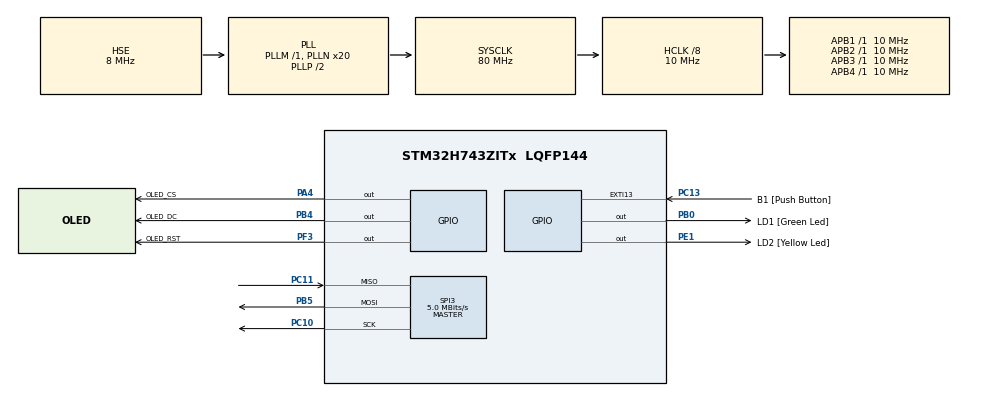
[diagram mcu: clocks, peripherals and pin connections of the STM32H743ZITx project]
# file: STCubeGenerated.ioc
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ADC3.Channel-2\#ChannelRegularConversion=ADC_CHANNEL_TEMPSENSOR
ADC3.NbrOfConversionFlag=1
ADC3.OffsetNumber-2\#ChannelRegularConversion=ADC_OFFSET_NONE
ADC3.OffsetSignedSaturation-2\#ChannelRegularConversion=DISABLE
ADC3.Rank-2\#ChannelRegularConversion=1
ADC3.SamplingTime-2\#ChannelRegularConversion=ADC_SAMPLETIME_1CYCLE_5
Mcu.Family=STM32H7
Mcu.Name=STM32H743ZITx
Mcu.Package=LQFP144
NVIC.EXTI15_10_IRQn=true\:0\:0\:false\:false\:true\:true\:true\:true
NVIC.PriorityGroup=NVIC_PRIORITYGROUP_4
NVIC.TIM7_IRQn=true\:15\:0\:false\:false\:true\:false\:true\:true
NVIC.TimeBase=TIM7_IRQn
NVIC.TimeBaseIP=TIM7
PA1.Signal=ETH_REF_CLK
PA11.Signal=USB_OTG_FS_DM
PA12.Signal=USB_OTG_FS_DP
PA2.Signal=ETH_MDIO
PA4.GPIO_Label=OLED_CS
PA4.GPIO_PuPd=GPIO_PULLUP
PA4.GPIO_Speed=GPIO_SPEED_FREQ_VERY_HIGH
PA4.PinState=GPIO_PIN_RESET
PA4.Signal=GPIO_Output
PA7.Signal=ETH_CRS_DV
PA8.Signal=USB_OTG_FS_SOF
PA9.Signal=USB_OTG_FS_VBUS
PB0.GPIO_Label=LD1 [Green Led]
PB0.GPIO_Speed=GPIO_SPEED_FREQ_VERY_HIGH
PB0.Signal=GPIO_Output
PB13.Signal=ETH_TXD1
PB4\ (NJTRST).GPIO_Label=OLED_DC
PB4\ (NJTRST).GPIO_Speed=GPIO_SPEED_FREQ_VERY_HIGH
PB4\ (NJTRST).Signal=GPIO_Output
PB5.Mode=Full_Duplex_Master
PB5.Signal=SPI3_MOSI
PC1.Signal=ETH_MDC
PC10.GPIO_PuPd=GPIO_PULLUP
PC10.Mode=Full_Duplex_Master
PC10.Signal=SPI3_SCK
PC11.Mode=Full_Duplex_Master
PC11.Signal=SPI3_MISO
PC13.GPIO_Label=B1 [Push Button]
PC13.GPIO_ModeDefaultEXTI=GPIO_MODE_IT_RISING_FALLING
PC13.Signal=GPXTI13
PC14-OSC32_IN\ (OSC32_IN).Signal=RCC_OSC32_IN
PC15-OSC32_OUT\ (OSC32_OUT).Signal=RCC_OSC32_OUT
PC4.Signal=ETH_RXD0
PC5.Signal=ETH_RXD1
PD8.GPIO_Label=STLINK_RX
PD8.Signal=USART3_TX
PD9.GPIO_Label=STLINK_TX
PD9.Signal=USART3_RX
PE1.GPIO_Label=LD2 [Yellow Led]
PE1.GPIO_Speed=GPIO_SPEED_FREQ_VERY_HIGH
PE1.Signal=GPIO_Output
PF3.GPIO_Label=OLED_RST
PF3.GPIO_Speed=GPIO_SPEED_FREQ_VERY_HIGH
PF3.Signal=GPIO_Output
PH0-OSC_IN\ (PH0).Mode=HSE-External-Clock-Source
PH0-OSC_IN\ (PH0).Signal=RCC_OSC_IN
PH1-OSC_OUT\ (PH1).Signal=RCC_OSC_OUT
ProjectManager.HeapSize=0x200
ProjectManager.StackSize=0x400
ProjectManager.TargetToolchain=Makefile
RCC.ADCFreq_Value=37500000
RCC.APB1Freq_Value=10000000
RCC.APB2Freq_Value=10000000
RCC.APB3Freq_Value=10000000
RCC.APB4Freq_Value=10000000
RCC.CortexFreq_Value=10000000
RCC.D1CPRE=RCC_SYSCLK_DIV8
RCC.DIVM1=1
RCC.DIVM2=1
RCC.DIVN1=20
RCC.DIVN2=18
RCC.DIVP2=4
RCC.HCLKFreq_Value=10000000
RCC.HSE_VALUE=8000000
RCC.PLL2FRACN=6144
RCC.PLLFRACN=0
RCC.PLLSourceVirtual=RCC_PLLSOURCE_HSE
RCC.SYSCLKFreq_VALUE=80000000
RCC.SYSCLKSource=RCC_SYSCLKSOURCE_PLLCLK
RCC.USBFreq_Value=80000000
SPI3.BaudRatePrescaler=SPI_BAUDRATEPRESCALER_16
SPI3.CLKPhase=SPI_PHASE_2EDGE
SPI3.CLKPolarity=SPI_POLARITY_HIGH
SPI3.CalculateBaudRate=5.0 MBits/s
SPI3.DataSize=SPI_DATASIZE_8BIT
SPI3.Direction=SPI_DIRECTION_2LINES
SPI3.Mode=SPI_MODE_MASTER
SPI3.VirtualType=VM_MASTER
VP_ADC3_TempSens_Input.Mode=IN-TempSens
VP_SYS_VS_tim7.Mode=TIM7
board=NUCLEO-H743ZI2

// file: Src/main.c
/* USER CODE BEGIN Header */
/* USER CODE END Header */
#include "main.h"

/* USER CODE BEGIN Includes */
#include <stdio.h>
#include <arm_math.h>

#define RTOS 2 				// 1-FreeRTOS, 2-Keil RTX 5
#define TEST_SELECTION 1	// 0-BOOT_TEST, 1-INTERRUPT_NO_LOAD, 2-INTERRUPT_LOAD, 3-START_TASK_FROM_ISR_NO_LOAD, 4-START_TASK_FROM_ISR_LOAD, 5-TASK_SWITCH_TIME
#define DISPLAY_TYPE 2 		// 0-off, 1-display 0_95in, 2-display 0_96in

#if (TEST_SELECTION == 0)	//BOOT_TEST
	#define BOOT_TEST 1
	#define BLINK_LD2 0
	#define TEMP 0
	#define FFT 0
	#define DISPLAY 0
	#define QUEUES 0
	#define TASK_SWITCH_TIME 0
#elif (TEST_SELECTION == 1)	//INTERRUPT_NO_LOAD
	#define BLINK_LD2 1
	#define TEMP 0
	#define FFT 0
	#define DISPLAY 0
	#define QUEUES 0
	#define TASK_SWITCH_TIME 0	//INTERRUPT_LOAD
#elif (TEST_SELECTION == 2)
	#define BLINK_LD2 1
	#define TEMP 1
	#define FFT 1
	#define DISPLAY DISPLAY_TYPE
	#define QUEUES 1
	#define TASK_SWITCH_TIME 0
#elif (TEST_SELECTION == 3)		//START_TASK_FROM_ISR_NO_LOAD
	#define BLINK_LD2 0
	#define TEMP 0
	#define FFT 0
	#define DISPLAY 0
	#define QUEUES 0
	#define TASK_SWITCH_TIME 0
	#define START_TASK_FROM_ISR 1
#elif (TEST_SELECTION == 4)		//START_TASK_FROM_ISR_LOAD
	#define BLINK_LD2 1
	#define TEMP 1
	#define FFT 1
	#define DISPLAY DISPLAY_TYPE
	#define QUEUES 1
	#define TASK_SWITCH_TIME 0
	#define START_TASK_FROM_ISR 1
#elif (TEST_SELECTION == 5)		//TASK_SWITCH_TIME
	#define BLINK_LD2 0
	#define TEMP 0
	#define FFT 0
	#define DISPLAY 0
	#define QUEUES 0
	#define TASK_SWITCH_TIME 1
#endif

#if (RTOS == 1)
#include "cmsis_os.h"
#include <queue.h>
#include "OLED/test.h"
#endif
/* USER CODE END Includes */

/* USER CODE BEGIN PD */
#define SAMPLE_BUFFER_LENGTH        4096
#define SAMPLE_BUFFER_LENGTH_HALF   (SAMPLE_BUFFER_LENGTH/2)
#define SAMPLING_RATE               48000

float fft_input[SAMPLE_BUFFER_LENGTH];
float fft_output[SAMPLE_BUFFER_LENGTH];
float fft_power[SAMPLE_BUFFER_LENGTH_HALF];

uint8_t ifftFlag = 0;
float frequency_resolution = (float) SAMPLING_RATE
		/ (float) SAMPLE_BUFFER_LENGTH;

//event flags for keil
osEventFlagsId_t evt_id;
#define FLAGS_MSK1 0x00000001U

/* USER CODE END PD */

ADC_HandleTypeDef hadc3;

SPI_HandleTypeDef hspi3;

/* Definitions for defaultTask */
osThreadId_t defaultTaskHandle;
const osThreadAttr_t defaultTask_attributes = {
  .name = "defaultTask",
  .stack_size = 128 * 4,
  .priority = (osPriority_t) osPriorityNormal,
};
/* Definitions for ADC */
osThreadId_t ADCHandle;
const osThreadAttr_t ADC_attributes = {
  .name = "ADC",
  .stack_size = 128 * 4,
  .priority = (osPriority_t) osPriorityNormal,
};
/* Definitions for Display */
osThreadId_t DisplayHandle;
const osThreadAttr_t Display_attributes = {
  .name = "Display",
  .stack_size = 256 * 4,
  .priority = (osPriority_t) osPriorityNormal,
};
/* Definitions for FFT */
osThreadId_t FFTHandle;
const osThreadAttr_t FFT_attributes = {
  .name = "FFT",
  .stack_size = 256 * 4,
  .priority = (osPriority_t) osPriorityNormal,
};
/* Definitions for interruptTask */
osThreadId_t interruptTaskHandle;
const osThreadAttr_t interruptTask_attributes = {
  .name = "interruptTask",
  .stack_size = 128 * 4,
  .priority = (osPriority_t) osPriorityHigh,
};
/* Definitions for adcQueue */
osMessageQueueId_t adcQueueHandle;
const osMessageQueueAttr_t adcQueue_attributes = {
  .name = "adcQueue"
};
/* Definitions for fftQueue */
osMessageQueueId_t fftQueueHandle;
const osMessageQueueAttr_t fftQueue_attributes = {
  .name = "fftQueue"
};

void SystemClock_Config(void);
static void MX_GPIO_Init(void);
static void MX_ADC3_Init(void);
static void MX_SPI3_Init(void);
void StartDefaultTask(void *argument);
void StartADC(void *argument);
void StartDisplay(void *argument);
void StartFFT(void *argument);
void StartInterruptTask(void *argument);

/* USER CODE BEGIN PFP */
void HAL_GPIO_EXTI_Callback(uint16_t GPIO_Pin) {
	if (GPIO_Pin == B1_Pin) {
#if ( START_TASK_FROM_ISR == 1)
#if (RTOS == 1)
		BaseType_t xHigherPriorityTaskWoken = pdFALSE;
		vTaskNotifyGiveFromISR(interruptTaskHandle, &xHigherPriorityTaskWoken);
	    portYIELD_FROM_ISR( xHigherPriorityTaskWoken );
#elif (RTOS == 2)
		osEventFlagsSet(evt_id, FLAGS_MSK1);
#endif
#else
		HAL_GPIO_WritePin(LD1_GPIO_Port, LD1_Pin,
				HAL_GPIO_ReadPin(B1_GPIO_Port, B1_Pin));
#endif
	}
}
/* USER CODE END PFP */

/* USER CODE BEGIN 0 */
// Calibration for temperature
#define TS_CAL1 *((uint16_t*) 0x1FF1E820)
#define TS_CAL2 *((uint16_t*) 0x1FF1E820)
/* USER CODE END 0 */

int main(void)
{
  /* USER CODE BEGIN 1 */
#if (RTOS == 2 && BOOT_TEST != 1)
	evt_id = osEventFlagsNew(NULL);
	if (evt_id == NULL) {
	  ; // Event Flags object not created, handle failure
	}
#endif
  /* USER CODE END 1 */

  /* MCU Configuration--------------------------------------------------------*/

  /* Reset of all peripherals, Initializes the Flash interface and the Systick. */
  HAL_Init();

  /* Configure the system clock */
  SystemClock_Config();

  /* Initialize all configured peripherals */
  MX_GPIO_Init();
  MX_ADC3_Init();
  MX_SPI3_Init();
  /* USER CODE BEGIN 2 */
#if (DISPLAY == 1)
	OLED_0in95_rgb_test();
#elif (DISPLAY == 2)
	OLED_0in96_test();
#endif

#if (BOOT_TEST == 1)
	HAL_GPIO_WritePin(LD2_GPIO_Port, LD2_Pin, GPIO_PIN_SET);
	HAL_GPIO_WritePin(LD2_GPIO_Port, LD2_Pin, GPIO_PIN_RESET);
	HAL_Delay(1);
	HAL_GPIO_WritePin(LD2_GPIO_Port, LD2_Pin, GPIO_PIN_SET);
#endif
  /* USER CODE END 2 */

  /* Init scheduler */
  osKernelInitialize();

  /* USER CODE BEGIN RTOS_TIMERS */
	/* start timers, add new ones, ... */
#if (QUEUES == 1)
  /* USER CODE END RTOS_TIMERS */

  /* Create the queue(s) */
  /* creation of adcQueue */
  adcQueueHandle = osMessageQueueNew (2, sizeof(uint16_t), &adcQueue_attributes);

  /* creation of fftQueue */
  fftQueueHandle = osMessageQueueNew (16, sizeof(uint16_t), &fftQueue_attributes);

  /* USER CODE BEGIN RTOS_QUEUES */
#endif
	/* add queues, ... */
  /* USER CODE END RTOS_QUEUES */

  /* Create the thread(s) */
  /* creation of defaultTask */
  defaultTaskHandle = osThreadNew(StartDefaultTask, NULL, &defaultTask_attributes);

  /* creation of ADC */
  ADCHandle = osThreadNew(StartADC, NULL, &ADC_attributes);

  /* creation of Display */
  DisplayHandle = osThreadNew(StartDisplay, NULL, &Display_attributes);

  /* creation of FFT */
  FFTHandle = osThreadNew(StartFFT, NULL, &FFT_attributes);

  /* creation of interruptTask */
  interruptTaskHandle = osThreadNew(StartInterruptTask, NULL, &interruptTask_attributes);

  /* Start scheduler */
  osKernelStart();

  /* We should never get here as control is now taken by the scheduler */
  /* Infinite loop */
	while (1) {

	}
}

void SystemClock_Config(void)
{
  RCC_OscInitTypeDef RCC_OscInitStruct = {0};
  RCC_ClkInitTypeDef RCC_ClkInitStruct = {0};

  /** Supply configuration update enable
  */
  HAL_PWREx_ConfigSupply(PWR_LDO_SUPPLY);

  /** Configure the main internal regulator output voltage
  */
  __HAL_PWR_VOLTAGESCALING_CONFIG(PWR_REGULATOR_VOLTAGE_SCALE3);

  while(!__HAL_PWR_GET_FLAG(PWR_FLAG_VOSRDY)) {}

  /** Macro to configure the PLL clock source
  */
  __HAL_RCC_PLL_PLLSOURCE_CONFIG(RCC_PLLSOURCE_HSE);

  /** Initializes the RCC Oscillators according to the specified parameters
  * in the RCC_OscInitTypeDef structure.
  */
  RCC_OscInitStruct.OscillatorType = RCC_OSCILLATORTYPE_HSE;
  RCC_OscInitStruct.HSEState = RCC_HSE_BYPASS;
  RCC_OscInitStruct.PLL.PLLState = RCC_PLL_ON;
  RCC_OscInitStruct.PLL.PLLSource = RCC_PLLSOURCE_HSE;
  RCC_OscInitStruct.PLL.PLLM = 1;
  RCC_OscInitStruct.PLL.PLLN = 20;
  RCC_OscInitStruct.PLL.PLLP = 2;
  RCC_OscInitStruct.PLL.PLLQ = 2;
  RCC_OscInitStruct.PLL.PLLR = 2;
  RCC_OscInitStruct.PLL.PLLRGE = RCC_PLL1VCIRANGE_3;
  RCC_OscInitStruct.PLL.PLLVCOSEL = RCC_PLL1VCOMEDIUM;
  RCC_OscInitStruct.PLL.PLLFRACN = 0;
  if (HAL_RCC_OscConfig(&RCC_OscInitStruct) != HAL_OK)
  {
    Error_Handler();
  }

  /** Initializes the CPU, AHB and APB buses clocks
  */
  RCC_ClkInitStruct.ClockType = RCC_CLOCKTYPE_HCLK|RCC_CLOCKTYPE_SYSCLK
                              |RCC_CLOCKTYPE_PCLK1|RCC_CLOCKTYPE_PCLK2
                              |RCC_CLOCKTYPE_D3PCLK1|RCC_CLOCKTYPE_D1PCLK1;
  RCC_ClkInitStruct.SYSCLKSource = RCC_SYSCLKSOURCE_PLLCLK;
  RCC_ClkInitStruct.SYSCLKDivider = RCC_SYSCLK_DIV8;
  RCC_ClkInitStruct.AHBCLKDivider = RCC_HCLK_DIV1;
  RCC_ClkInitStruct.APB3CLKDivider = RCC_APB3_DIV1;
  RCC_ClkInitStruct.APB1CLKDivider = RCC_APB1_DIV1;
  RCC_ClkInitStruct.APB2CLKDivider = RCC_APB2_DIV1;
  RCC_ClkInitStruct.APB4CLKDivider = RCC_APB4_DIV1;

  if (HAL_RCC_ClockConfig(&RCC_ClkInitStruct, FLASH_LATENCY_0) != HAL_OK)
  {
    Error_Handler();
  }
}

static void MX_ADC3_Init(void)
{

  ADC_ChannelConfTypeDef sConfig = {0};

  /** Common config
  */
  hadc3.Instance = ADC3;
  hadc3.Init.Resolution = ADC_RESOLUTION_16B;
  hadc3.Init.ScanConvMode = ADC_SCAN_DISABLE;
  hadc3.Init.EOCSelection = ADC_EOC_SINGLE_CONV;
  hadc3.Init.LowPowerAutoWait = DISABLE;
  hadc3.Init.ContinuousConvMode = DISABLE;
  hadc3.Init.NbrOfConversion = 1;
  hadc3.Init.DiscontinuousConvMode = DISABLE;
  hadc3.Init.ExternalTrigConv = ADC_SOFTWARE_START;
  hadc3.Init.ExternalTrigConvEdge = ADC_EXTERNALTRIGCONVEDGE_NONE;
  hadc3.Init.ConversionDataManagement = ADC_CONVERSIONDATA_DR;
  hadc3.Init.Overrun = ADC_OVR_DATA_PRESERVED;
  hadc3.Init.LeftBitShift = ADC_LEFTBITSHIFT_NONE;
  hadc3.Init.OversamplingMode = DISABLE;
  if (HAL_ADC_Init(&hadc3) != HAL_OK)
  {
    Error_Handler();
  }

  /** Configure Regular Channel
  */
  sConfig.Channel = ADC_CHANNEL_TEMPSENSOR;
  sConfig.Rank = ADC_REGULAR_RANK_1;
  sConfig.SamplingTime = ADC_SAMPLETIME_1CYCLE_5;
  sConfig.SingleDiff = ADC_SINGLE_ENDED;
  sConfig.OffsetNumber = ADC_OFFSET_NONE;
  sConfig.Offset = 0;
  sConfig.OffsetSignedSaturation = DISABLE;
  if (HAL_ADC_ConfigChannel(&hadc3, &sConfig) != HAL_OK)
  {
    Error_Handler();
  }

}

static void MX_SPI3_Init(void)
{

  /* SPI3 parameter configuration*/
  hspi3.Instance = SPI3;
  hspi3.Init.Mode = SPI_MODE_MASTER;
  hspi3.Init.Direction = SPI_DIRECTION_2LINES;
  hspi3.Init.DataSize = SPI_DATASIZE_8BIT;
  hspi3.Init.CLKPolarity = SPI_POLARITY_HIGH;
  hspi3.Init.CLKPhase = SPI_PHASE_2EDGE;
  hspi3.Init.NSS = SPI_NSS_SOFT;
  hspi3.Init.BaudRatePrescaler = SPI_BAUDRATEPRESCALER_16;
  hspi3.Init.FirstBit = SPI_FIRSTBIT_MSB;
  hspi3.Init.TIMode = SPI_TIMODE_DISABLE;
  hspi3.Init.CRCCalculation = SPI_CRCCALCULATION_DISABLE;
  hspi3.Init.CRCPolynomial = 0x0;
  hspi3.Init.NSSPMode = SPI_NSS_PULSE_ENABLE;
  hspi3.Init.NSSPolarity = SPI_NSS_POLARITY_LOW;
  hspi3.Init.FifoThreshold = SPI_FIFO_THRESHOLD_01DATA;
  hspi3.Init.TxCRCInitializationPattern = SPI_CRC_INITIALIZATION_ALL_ZERO_PATTERN;
  hspi3.Init.RxCRCInitializationPattern = SPI_CRC_INITIALIZATION_ALL_ZERO_PATTERN;
  hspi3.Init.MasterSSIdleness = SPI_MASTER_SS_IDLENESS_00CYCLE;
  hspi3.Init.MasterInterDataIdleness = SPI_MASTER_INTERDATA_IDLENESS_00CYCLE;
  hspi3.Init.MasterReceiverAutoSusp = SPI_MASTER_RX_AUTOSUSP_DISABLE;
  hspi3.Init.MasterKeepIOState = SPI_MASTER_KEEP_IO_STATE_DISABLE;
  hspi3.Init.IOSwap = SPI_IO_SWAP_DISABLE;
  if (HAL_SPI_Init(&hspi3) != HAL_OK)
  {
    Error_Handler();
  }

}

static void MX_GPIO_Init(void)
{
  GPIO_InitTypeDef GPIO_InitStruct = {0};

  /* GPIO Ports Clock Enable */
  __HAL_RCC_GPIOC_CLK_ENABLE();
  __HAL_RCC_GPIOF_CLK_ENABLE();
  __HAL_RCC_GPIOH_CLK_ENABLE();
  __HAL_RCC_GPIOA_CLK_ENABLE();
  __HAL_RCC_GPIOB_CLK_ENABLE();
  __HAL_RCC_GPIOD_CLK_ENABLE();
  __HAL_RCC_GPIOE_CLK_ENABLE();

  /*Configure GPIO pin Output Level */
  HAL_GPIO_WritePin(OLED_RST_GPIO_Port, OLED_RST_Pin, GPIO_PIN_RESET);

  /*Configure GPIO pin Output Level */
  HAL_GPIO_WritePin(OLED_CS_GPIO_Port, OLED_CS_Pin, GPIO_PIN_RESET);

  /*Configure GPIO pin Output Level */
  HAL_GPIO_WritePin(GPIOB, LD1_Pin|OLED_DC_Pin, GPIO_PIN_RESET);

  /*Configure GPIO pin Output Level */
  HAL_GPIO_WritePin(LD2_GPIO_Port, LD2_Pin, GPIO_PIN_RESET);

  /*Configure GPIO pin : B1_Pin */
  GPIO_InitStruct.Pin = B1_Pin;
  GPIO_InitStruct.Mode = GPIO_MODE_IT_RISING_FALLING;
  GPIO_InitStruct.Pull = GPIO_NOPULL;
  HAL_GPIO_Init(B1_GPIO_Port, &GPIO_InitStruct);

  /*Configure GPIO pin : OLED_RST_Pin */
  GPIO_InitStruct.Pin = OLED_RST_Pin;
  GPIO_InitStruct.Mode = GPIO_MODE_OUTPUT_PP;
  GPIO_InitStruct.Pull = GPIO_NOPULL;
  GPIO_InitStruct.Speed = GPIO_SPEED_FREQ_VERY_HIGH;
  HAL_GPIO_Init(OLED_RST_GPIO_Port, &GPIO_InitStruct);

  /*Configure GPIO pins : PC1 PC4 PC5 */
  GPIO_InitStruct.Pin = GPIO_PIN_1|GPIO_PIN_4|GPIO_PIN_5;
  GPIO_InitStruct.Mode = GPIO_MODE_AF_PP;
  GPIO_InitStruct.Pull = GPIO_NOPULL;
  GPIO_InitStruct.Speed = GPIO_SPEED_FREQ_LOW;
  GPIO_InitStruct.Alternate = GPIO_AF11_ETH;
  HAL_GPIO_Init(GPIOC, &GPIO_InitStruct);

  /*Configure GPIO pins : PA1 PA2 PA7 */
  GPIO_InitStruct.Pin = GPIO_PIN_1|GPIO_PIN_2|GPIO_PIN_7;
  GPIO_InitStruct.Mode = GPIO_MODE_AF_PP;
  GPIO_InitStruct.Pull = GPIO_NOPULL;
  GPIO_InitStruct.Speed = GPIO_SPEED_FREQ_LOW;
  GPIO_InitStruct.Alternate = GPIO_AF11_ETH;
  HAL_GPIO_Init(GPIOA, &GPIO_InitStruct);

  /*Configure GPIO pin : OLED_CS_Pin */
  GPIO_InitStruct.Pin = OLED_CS_Pin;
  GPIO_InitStruct.Mode = GPIO_MODE_OUTPUT_PP;
  GPIO_InitStruct.Pull = GPIO_PULLUP;
  GPIO_InitStruct.Speed = GPIO_SPEED_FREQ_VERY_HIGH;
  HAL_GPIO_Init(OLED_CS_GPIO_Port, &GPIO_InitStruct);

  /*Configure GPIO pins : LD1_Pin OLED_DC_Pin */
  GPIO_InitStruct.Pin = LD1_Pin|OLED_DC_Pin;
  GPIO_InitStruct.Mode = GPIO_MODE_OUTPUT_PP;
  GPIO_InitStruct.Pull = GPIO_NOPULL;
  GPIO_InitStruct.Speed = GPIO_SPEED_FREQ_VERY_HIGH;
  HAL_GPIO_Init(GPIOB, &GPIO_InitStruct);

  /*Configure GPIO pin : PB13 */
  GPIO_InitStruct.Pin = GPIO_PIN_13;
  GPIO_InitStruct.Mode = GPIO_MODE_AF_PP;
  GPIO_InitStruct.Pull = GPIO_NOPULL;
  GPIO_InitStruct.Speed = GPIO_SPEED_FREQ_LOW;
  GPIO_InitStruct.Alternate = GPIO_AF11_ETH;
  HAL_GPIO_Init(GPIOB, &GPIO_InitStruct);

  /*Configure GPIO pins : STLINK_RX_Pin STLINK_TX_Pin */
  GPIO_InitStruct.Pin = STLINK_RX_Pin|STLINK_TX_Pin;
  GPIO_InitStruct.Mode = GPIO_MODE_AF_PP;
  GPIO_InitStruct.Pull = GPIO_NOPULL;
  GPIO_InitStruct.Speed = GPIO_SPEED_FREQ_LOW;
  GPIO_InitStruct.Alternate = GPIO_AF7_USART3;
  HAL_GPIO_Init(GPIOD, &GPIO_InitStruct);

  /*Configure GPIO pins : PA8 PA11 PA12 */
  GPIO_InitStruct.Pin = GPIO_PIN_8|GPIO_PIN_11|GPIO_PIN_12;
  GPIO_InitStruct.Mode = GPIO_MODE_AF_PP;
  GPIO_InitStruct.Pull = GPIO_NOPULL;
  GPIO_InitStruct.Speed = GPIO_SPEED_FREQ_LOW;
  GPIO_InitStruct.Alternate = GPIO_AF10_OTG1_FS;
  HAL_GPIO_Init(GPIOA, &GPIO_InitStruct);

  /*Configure GPIO pin : LD2_Pin */
  GPIO_InitStruct.Pin = LD2_Pin;
  GPIO_InitStruct.Mode = GPIO_MODE_OUTPUT_PP;
  GPIO_InitStruct.Pull = GPIO_NOPULL;
  GPIO_InitStruct.Speed = GPIO_SPEED_FREQ_VERY_HIGH;
  HAL_GPIO_Init(LD2_GPIO_Port, &GPIO_InitStruct);

  /* EXTI interrupt init*/
  HAL_NVIC_SetPriority(EXTI15_10_IRQn, 5, 0);
  HAL_NVIC_EnableIRQ(EXTI15_10_IRQn);

}

void StartDefaultTask(void *argument)
{
  /* USER CODE BEGIN 5 */
	/* Infinite loop */

	for (;;) {
#if (TASK_SWITCH_TIME == 1)
		HAL_GPIO_WritePin(LD2_GPIO_Port, LD2_Pin, SET);
#if (RTOS == 1)
		taskYIELD();
#elif (RTOS == 2)
		osThreadYield();
#endif
#endif

#if (BOOT_TEST == 1)
		HAL_GPIO_WritePin(LD2_GPIO_Port, LD2_Pin, GPIO_PIN_RESET);
#if (RTOS == 1)
	vTaskDelete(NULL);
#elif (RTOS == 2)
	osThreadExit();
#endif
#endif

#if (BLINK_LD2 == 1)
		HAL_GPIO_TogglePin(LD2_GPIO_Port, LD2_Pin);
#endif
	}
  /* USER CODE END 5 */
}

void StartADC(void *argument)
{
  /* USER CODE BEGIN StartADC */
#if (TEMP == 1)
	HAL_ADC_Start(&hadc3);
	uint16_t PomiarADC;
	/* Infinite loop */
	for (;;) {
		if (HAL_ADC_PollForConversion(&hadc3, 10) == HAL_OK) {
			PomiarADC = HAL_ADC_GetValue(&hadc3);
			HAL_ADC_Start(&hadc3);
//		int temperatura = (110-30)/(TS_CAL2-TS_CAL1)*(PomiarADC-TS_CAL1)+30;
#if (RTOS == 1)
			xQueueSend(adcQueueHandle, &PomiarADC, 0);
#elif (RTOS == 2)
			osMessageQueuePut(adcQueueHandle, &PomiarADC, 0, 0);
#endif
		}
	}
#else
#if (RTOS == 1)
	vTaskDelete(NULL);
#elif (RTOS == 2)
	osThreadExit();
#endif
#endif
  /* USER CODE END StartADC */
}

void StartDisplay(void *argument)
{
  /* USER CODE BEGIN StartDisplay */
#if (DISPLAY != 0)
	uint16_t OdczytADC;
	/* Infinite loop */
	for (;;) {
#if (RTOS == 1)
		xQueueReceive(fftQueueHandle, &OdczytADC, portMAX_DELAY);	//block until data recieved
//		xQueueReceive(adcQueueHandle, &OdczytADC, 0);	//no block
#elif (RTOS == 2)
		osMessageQueueGet(fftQueueHandle, &OdczytADC, 0, osWaitForever);	//block until data recieved
#endif

#if (DISPLAY == 1)
		OLED_0in95_rgb_print_num(OdczytADC);
#elif (DISPLAY == 2)
		OLED_0in96_print_num(OdczytADC);
#endif
	}
#else
#if (RTOS == 1)
	vTaskDelete(NULL);
#elif (RTOS == 2)
	osThreadExit();
#endif
#endif
  /* USER CODE END StartDisplay */
}

void StartFFT(void *argument)
{
  /* USER CODE BEGIN StartFFT */
	/* Infinite loop */
#if (FFT == 1)
	uint16_t OdczytADC;
#if (RTOS == 1)
		taskENTER_CRITICAL();
#elif (RTOS == 2)
		osKernelLock();
#endif
	arm_rfft_fast_instance_f32 fft;
	arm_rfft_fast_init_f32(&fft, SAMPLE_BUFFER_LENGTH);
#if (RTOS == 1)
		taskEXIT_CRITICAL();
#elif (RTOS == 2)
		osKernelUnlock();
#endif
	for (;;) {
#if (RTOS == 1)
		xQueueReceive(adcQueueHandle, &OdczytADC, portMAX_DELAY);	//block until data recieved
#elif (RTOS == 2)
		osMessageQueueGet(adcQueueHandle, &OdczytADC, 0, osWaitForever);	//block until data recieved
#endif
		/* write signal to array */
		for (int i = 0; i < SAMPLE_BUFFER_LENGTH; i++) {
			float r = (float) i / (float) SAMPLING_RATE;
			r *= 3.14159265359 * 2;
			r *= 880; // frequency in Hz
			float s = sin(r) + sin(r * 4) * 0.5 + sin(r * 3) * 0.25;
			fft_input[i] = s;
		}

		/* analyze signal */
//#if (RTOS == 1)
//		taskENTER_CRITICAL();
//#elif (RTOS == 2)
//		osKernelLock();
//#endif
		arm_rfft_fast_f32(&fft, fft_input, fft_output, ifftFlag);
		arm_cmplx_mag_f32(fft_output, fft_power, SAMPLE_BUFFER_LENGTH_HALF);
//#if (RTOS == 1)
//		taskEXIT_CRITICAL();
//#elif (RTOS == 2)
//		osKernelUnlock();
//#endif

		/* find dominant frequency */
		float32_t maxValue;
		uint32_t maxIndex;
		arm_max_f32(fft_power, SAMPLE_BUFFER_LENGTH_HALF, &maxValue, &maxIndex);
#if (RTOS == 1)
			xQueueSend(fftQueueHandle, &OdczytADC, portMAX_DELAY);
#elif (RTOS == 2)
			osMessageQueuePut(fftQueueHandle, &OdczytADC, 0, osWaitForever);
#endif
	}
#elif (TASK_SWITCH_TIME == 1)
	for(;;) {
		HAL_GPIO_WritePin(LD2_GPIO_Port, LD2_Pin, RESET);
#if (RTOS == 1)
		taskYIELD();
#elif (RTOS == 2)
		osThreadYield();
#endif
	}
#else
#if (RTOS == 1)
	vTaskDelete(NULL);
#elif (RTOS == 2)
	osThreadExit();
#endif
#endif
  /* USER CODE END StartFFT */
}

void StartInterruptTask(void *argument)
{
  /* USER CODE BEGIN StartInterruptTask */
#if ( START_TASK_FROM_ISR == 1)
	for(;;){
#if (RTOS == 1)
		ulTaskNotifyTake(pdTRUE, portMAX_DELAY);
#elif (RTOS == 2)
		osEventFlagsWait(evt_id, FLAGS_MSK1, osFlagsWaitAny, osWaitForever);
#endif
		HAL_GPIO_TogglePin(LD1_GPIO_Port, LD1_Pin);
	}
#else
#if (RTOS == 1)
	vTaskDelete(NULL);
#elif (RTOS == 2)
	osThreadExit();
#endif
#endif
  /* USER CODE END StartInterruptTask */
}

void HAL_TIM_PeriodElapsedCallback(TIM_HandleTypeDef *htim)
{
  if (htim->Instance == TIM7) {
    HAL_IncTick();
  }
}

void Error_Handler(void)
{
	__disable_irq();
	while (1) {
	}
}
